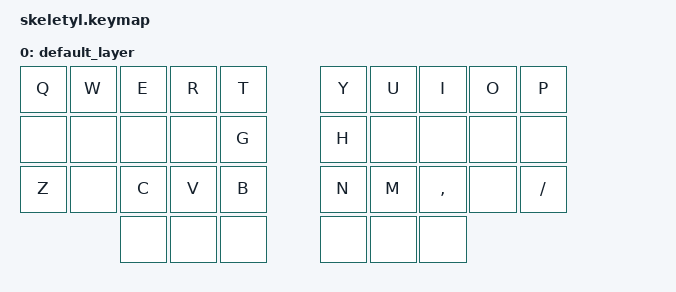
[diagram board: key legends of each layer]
#include <behaviors.dtsi>
#include <dt-bindings/zmk/keys.h>

// The default keymap is roughly on Miryoku layout
// (https://github.com/manna-harbour/miryoku).
// Customize on your own on the config folder.

#define BASE    0

/ {
    behaviors {

    };

    keymap {
        compatible = "zmk,keymap";

        default_layer {
            bindings = <
    &kp Q       &kp W       &kp E       &kp R           &kp T           &kp Y       &kp U       &kp I       &kp O           &kp P
    &none       &none       &none       &none           &kp G           &kp H       &none       &none       &none           &none
    &kp Z       &none       &kp C       &kp V           &kp B           &kp N       &kp M       &kp COMMA   &none           &kp FSLH
                            &none       &none           &none           &none       &none       &none
            >;
        };
};
